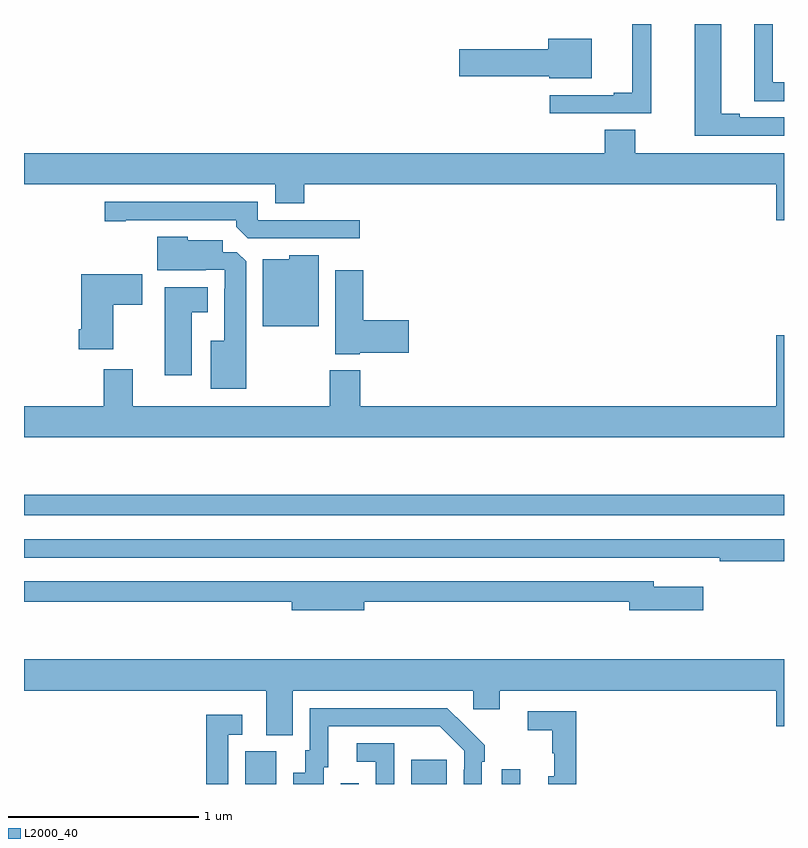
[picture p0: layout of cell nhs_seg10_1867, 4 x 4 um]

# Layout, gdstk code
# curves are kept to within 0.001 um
import gdstk
lib = gdstk.Library(unit=1e-6, precision=1e-09)
def R(c, l, rs):  # rectangles x0, y0, x1, y1
    for r in rs: c.add(gdstk.rectangle(r[:2], r[2:], *l))
def P(c, l, *ps):  # polygons
    for p in ps: c.add(gdstk.Polygon(p, *l))
L2000_40 = (2000, 40)

nhs_seg10_1867 = lib.new_cell('nhs_seg10_1867')
R(nhs_seg10_1867, L2000_40, [(210.164,1290.5,210.328,1290.672), (210.666,1290.5,210.762,1290.505), (211.037,1290.5,211.225,1290.628), (211.515,1290.5,211.611,1290.577), (209,1291.914,213,1292.023)])
P(nhs_seg10_1867, L2000_40, [(213,1294.008),(212.767,1294.008),(212.767,1294.028),(212.671,1294.028),(212.671,1294.5),(212.531,1294.5),(212.531,1293.912),(213,1293.912)],
  [(213,1294.194),(212.94,1294.194),(212.94,1294.5),(212.843,1294.5),(212.843,1294.093),(213,1294.093)],
  [(212.301,1294.5),(212.201,1294.5),(212.201,1294.138),(212.105,1294.138),(212.105,1294.125),(211.767,1294.125),(211.767,1294.029),(212.301,1294.029)],
  [(211.987,1294.423),(211.76,1294.423),(211.76,1294.367),(211.29,1294.367),(211.29,1294.225),(211.764,1294.225),(211.764,1294.214),(211.987,1294.214)],
  [(213,1293.82),(212.217,1293.82),(212.217,1293.944),(212.057,1293.944),(212.057,1293.82),(209,1293.82),(209,1293.656),(210.323,1293.656),(210.323,1293.557),(210.476,1293.557),(210.476,1293.656),(212.96,1293.656),(212.96,1293.468),(213,1293.468)],
  [(210.766,1293.468),(210.231,1293.468),(210.231,1293.564),(209.424,1293.564),(209.424,1293.463),(209.536,1293.463),(209.536,1293.468),(210.116,1293.468),(210.116,1293.434),(210.177,1293.372),(210.766,1293.372)],
  [(210.169,1293.251),(210.12,1293.3),(210.046,1293.3),(210.046,1293.361),(209.862,1293.361),(209.862,1293.379),(209.702,1293.379),(209.702,1293.203),(209.957,1293.203),(209.957,1293.207),(210.057,1293.207),(210.057,1293.107),(210.053,1293.107),(210.053,1292.833),(209.984,1292.833),(209.984,1292.579),(210.169,1292.579)],
  [(210.55,1293.283),(210.396,1293.283),(210.396,1293.262),(210.257,1293.262),(210.257,1292.909),(210.55,1292.909)],
  [(210.768,1292.771),(211.024,1292.771),(211.024,1292.942),(210.785,1292.942),(210.785,1293.205),(210.638,1293.205),(210.638,1292.762),(210.768,1292.762)],
  [(209.47,1293.022),(209.623,1293.022),(209.623,1293.184),(209.3,1293.184),(209.3,1292.893),(209.288,1292.893),(209.288,1292.789),(209.47,1292.789)],
  [(209.884,1292.984),(209.968,1292.984),(209.968,1293.115),(209.741,1293.115),(209.741,1292.652),(209.884,1292.652)],
  [(213,1292.863),(212.96,1292.863),(212.96,1292.488),(210.77,1292.488),(210.77,1292.677),(210.61,1292.677),(210.61,1292.488),(209.572,1292.488),(209.572,1292.683),(209.42,1292.683),(209.42,1292.488),(209,1292.488),(209,1292.324),(213,1292.324)],
  [(213,1291.788),(209,1291.788),(209,1291.692),(212.41,1291.692),(212.41,1291.691),(212.662,1291.691),(212.662,1291.672),(213,1291.672)],
  [(210.79,1291.458),(212.186,1291.458),(212.186,1291.415),(212.575,1291.415),(212.575,1291.537),(212.314,1291.537),(212.314,1291.566),(209,1291.566),(209,1291.458),(210.41,1291.458),(210.41,1291.415),(210.79,1291.415)],
  [(210.415,1290.992),(211.365,1290.992),(211.365,1290.894),(211.504,1290.894),(211.504,1290.992),(212.96,1290.992),(212.96,1290.804),(213,1290.804),(213,1291.156),(209,1291.156),(209,1290.992),(210.275,1290.992),(210.275,1290.757),(210.415,1290.757)],
  [(210.577,1290.588),(210.601,1290.588),(210.601,1290.804),(211.189,1290.804),(211.317,1290.675),(211.317,1290.575),(211.314,1290.575),(211.314,1290.5),(211.41,1290.5),(211.41,1290.617),(211.425,1290.617),(211.425,1290.705),(211.228,1290.9),(210.504,1290.9),(210.504,1290.678),(210.479,1290.678),(210.479,1290.559),(210.416,1290.559),(210.416,1290.5),(210.577,1290.5)],
  [(211.907,1290.882),(211.65,1290.882),(211.65,1290.784),(211.779,1290.784),(211.779,1290.663),(211.79,1290.663),(211.79,1290.541),(211.76,1290.541),(211.76,1290.5),(211.907,1290.5)],
  [(210.075,1290.759),(210.148,1290.759),(210.148,1290.865),(209.959,1290.865),(209.959,1290.5),(210.075,1290.5)],
  [(210.948,1290.714),(210.75,1290.714),(210.75,1290.618),(210.852,1290.618),(210.852,1290.5),(210.948,1290.5)])

lib.write_gds('nhs_seg10_1867.gds')
